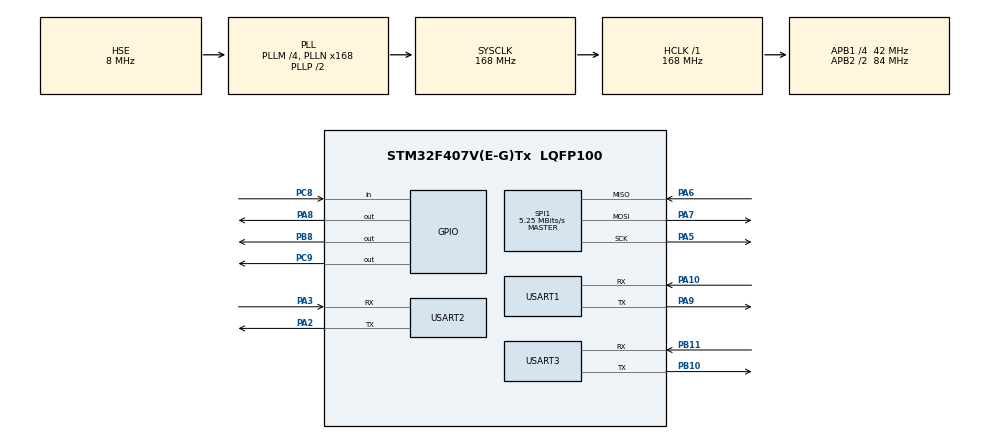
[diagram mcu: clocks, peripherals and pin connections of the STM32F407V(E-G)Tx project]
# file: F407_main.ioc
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Dma.Request0=SPI1_RX
Dma.Request1=SPI1_TX
Dma.SPI1_RX.0.Direction=DMA_PERIPH_TO_MEMORY
Dma.SPI1_RX.0.FIFOMode=DMA_FIFOMODE_DISABLE
Dma.SPI1_RX.0.Instance=DMA2_Stream2
Dma.SPI1_RX.0.MemDataAlignment=DMA_MDATAALIGN_BYTE
Dma.SPI1_RX.0.MemInc=DMA_MINC_ENABLE
Dma.SPI1_RX.0.Mode=DMA_CIRCULAR
Dma.SPI1_RX.0.PeriphDataAlignment=DMA_PDATAALIGN_BYTE
Dma.SPI1_RX.0.PeriphInc=DMA_PINC_DISABLE
Dma.SPI1_RX.0.Priority=DMA_PRIORITY_VERY_HIGH
Dma.SPI1_TX.1.Direction=DMA_MEMORY_TO_PERIPH
Dma.SPI1_TX.1.FIFOMode=DMA_FIFOMODE_DISABLE
Dma.SPI1_TX.1.Instance=DMA2_Stream3
Dma.SPI1_TX.1.MemDataAlignment=DMA_MDATAALIGN_BYTE
Dma.SPI1_TX.1.MemInc=DMA_MINC_ENABLE
Dma.SPI1_TX.1.Mode=DMA_NORMAL
Dma.SPI1_TX.1.PeriphDataAlignment=DMA_PDATAALIGN_BYTE
Dma.SPI1_TX.1.PeriphInc=DMA_PINC_DISABLE
Dma.SPI1_TX.1.Priority=DMA_PRIORITY_VERY_HIGH
Mcu.Family=STM32F4
Mcu.Name=STM32F407V(E-G)Tx
Mcu.Package=LQFP100
NVIC.DMA2_Stream2_IRQn=true\:0\:0\:false\:false\:true\:false\:true\:true
NVIC.DMA2_Stream3_IRQn=true\:0\:0\:false\:false\:true\:false\:true\:true
NVIC.PriorityGroup=NVIC_PRIORITYGROUP_4
NVIC.SPI1_IRQn=true\:0\:0\:false\:false\:true\:true\:true\:true
NVIC.USART1_IRQn=true\:0\:0\:true\:false\:true\:true\:true\:true
NVIC.USART2_IRQn=true\:1\:0\:true\:false\:true\:true\:true\:true
PA10.Mode=Asynchronous
PA10.Signal=USART1_RX
PA13.Mode=Serial_Wire
PA13.Signal=SYS_JTMS-SWDIO
PA14.Mode=Serial_Wire
PA14.Signal=SYS_JTCK-SWCLK
PA2.Mode=Asynchronous
PA2.Signal=USART2_TX
PA3.Mode=Asynchronous
PA3.Signal=USART2_RX
PA5.Mode=Full_Duplex_Master
PA5.Signal=SPI1_SCK
PA6.Mode=Full_Duplex_Master
PA6.Signal=SPI1_MISO
PA7.Mode=Full_Duplex_Master
PA7.Signal=SPI1_MOSI
PA8.Signal=GPIO_Output
PA9.Mode=Asynchronous
PA9.Signal=USART1_TX
PB10.Mode=Asynchronous
PB10.Signal=USART3_TX
PB11.Mode=Asynchronous
PB11.Signal=USART3_RX
PB8.Signal=GPIO_Output
PC8.Signal=GPIO_Input
PC9.Signal=GPIO_Output
PH0-OSC_IN.Mode=HSE-External-Oscillator
PH0-OSC_IN.Signal=RCC_OSC_IN
PH1-OSC_OUT.Mode=HSE-External-Oscillator
PH1-OSC_OUT.Signal=RCC_OSC_OUT
ProjectManager.HeapSize=0x200
ProjectManager.StackSize=0x400
ProjectManager.TargetToolchain=CMake
RCC.48MHZClocksFreq_Value=84000000
RCC.AHBFreq_Value=168000000
RCC.APB1CLKDivider=RCC_HCLK_DIV4
RCC.APB1Freq_Value=42000000
RCC.APB1TimFreq_Value=84000000
RCC.APB2CLKDivider=RCC_HCLK_DIV2
RCC.APB2Freq_Value=84000000
RCC.APB2TimFreq_Value=168000000
RCC.CortexFreq_Value=168000000
RCC.HCLKFreq_Value=168000000
RCC.HSE_VALUE=8000000
RCC.HSI_VALUE=16000000
RCC.LSE_VALUE=32768
RCC.PLLM=4
RCC.PLLN=168
RCC.PLLSourceVirtual=RCC_PLLSOURCE_HSE
RCC.SYSCLKFreq_VALUE=168000000
RCC.SYSCLKSource=RCC_SYSCLKSOURCE_PLLCLK
RCC.VCOOutputFreq_Value=336000000
SPI1.BaudRatePrescaler=SPI_BAUDRATEPRESCALER_16
SPI1.CalculateBaudRate=5.25 MBits/s
SPI1.Direction=SPI_DIRECTION_2LINES
SPI1.Mode=SPI_MODE_MASTER
SPI1.VirtualType=VM_MASTER
USART1.VirtualMode=VM_ASYNC
USART2.VirtualMode=VM_ASYNC
USART3.VirtualMode=VM_ASYNC
board=custom

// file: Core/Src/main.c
/* USER CODE BEGIN Header */
/**
  ******************************************************************************
  * @file           : main.c
  * @brief          : 绳驱巡检装置主程序 (STM32F407VET6)
  *
  * 外设分配:
  *   USART1 (PA9/PA10) - 电机多机通信 (ZDT X42S ×4)
  *   USART2 (PA2/PA3)  - 串口屏
  *   USART3 (PB10/PB11)- 预留 (调试)
  *   SPI1   (PA5/6/7)  - NRF24L01 无线通信
  *     PA8=CE, PC9=CSN, PC8=IRQ
  *   PC9  - NRF CSN (注意: 如需独立蜂鸣器, 需在 IOC 中新增 GPIO)
  *   PB8  - 蜂鸣器 (需在 IOC 中添加)
  ******************************************************************************
  */
/* USER CODE END Header */
#include "main.h"
#include "dma.h"
#include "spi.h"
#include "usart.h"
#include "gpio.h"

/* USER CODE BEGIN Includes */
#include "platform_config.h"
#include "motor.h"
#include "kinematics.h"
#include "task.h"
#include "screen.h"
#include "nrf_app.h"
#include "buzzer.h"
#include "motor_test.h"
#include "screen_test.h"
/* USER CODE END Includes */

/* USER CODE BEGIN PD */
/* 取消注释以开启对应测试模式，正常使用时全部保持注释 */
//#define MOTOR_TEST_ENABLE
//#define SCREEN_TEST_ENABLE
/* USER CODE END PD */

void SystemClock_Config(void);
/* USER CODE BEGIN PFP */
/* 串口屏回调 */
static void on_home(void)         { Task_EStop(); }
static void on_start(void)        { Task_StartHome(); }
static void on_area(void)         { Task_StartAreaPatrol(); }
static void on_auto(void)         { Task_StartAutoPatrol(); }
static void on_motor_enable(void) { Task_EnableMotors(); }
static void on_motor_disable(void){ Task_DisableMotors(); }
static void on_seq(uint8_t *s)    { Task_StartSeqPatrol(s); }
/* USER CODE END PFP */

int main(void)
{

  /* MCU Configuration--------------------------------------------------------*/

  /* Reset of all peripherals, Initializes the Flash interface and the Systick. */
  HAL_Init();

  /* Configure the system clock */
  SystemClock_Config();

  /* Initialize all configured peripherals */
  MX_GPIO_Init();
  MX_DMA_Init();
  MX_SPI1_Init();
  MX_USART1_UART_Init();
  MX_USART2_UART_Init();
  MX_USART3_UART_Init();
  /* USER CODE BEGIN 2 */

  /* --- 串口屏 --- */
  Screen_Init(SCREEN_UART);
  Screen_RegisterCallback(CMD_HOME,         on_home);
  Screen_RegisterCallback(CMD_START,        on_start);
  Screen_RegisterCallback(CMD_AREA_PATROL,  on_area);
  Screen_RegisterCallback(CMD_AUTO_PATROL,  on_auto);
  Screen_RegisterCallback(CMD_MOTOR_ENABLE, on_motor_enable);
  Screen_RegisterCallback(CMD_MOTOR_DISABLE,on_motor_disable);
  Screen_RegisterSequenceCallback(on_seq);

  /* --- 电机 --- */
  Motor_Init(MOTOR_UART);

#if BOOT_AUTO_ZERO_ENABLE
  /* --- 上电中心清零 ---
   * 只在建立中心零点时打开: 上电前必须手动把激光点放在中心圆。
   * 比赛/日常运行应保持 BOOT_AUTO_ZERO_ENABLE=0, 避免随机拉开后覆盖零点。
   */
  Motor_ZeroAllPositions();
  HAL_Delay(200);
#endif

  /* --- 运动学初始化 (零点已设置) --- */
  Kinematics_Init();

#ifdef MOTOR_TEST_ENABLE
  HAL_Delay(500);
  MotorTest_Run();
  while (1) {}
#endif

#ifdef SCREEN_TEST_ENABLE
  /* ======== 串口屏测试模式 ========
   * ScreenTest_Run 内部自行初始化 USART2，不用 Screen_Init */
  ScreenTest_Run();
  while (1) {}
#endif

  /* --- NRF --- */
  NrfApp_Init();

  /* --- 蜂鸣器 --- */
  Buzzer_Init();

  /* --- 任务调度 --- */
  Task_Init();

  uint32_t last_coord_ms = 0;

  /* USER CODE END 2 */

  /* Infinite loop */
  /* USER CODE BEGIN WHILE */
  while (1)
  {
    /* 任务状态机 */
    Task_Tick();

    /* 每 100ms 上报坐标到串口屏 */
    if (HAL_GetTick() - last_coord_ms >= COORD_UPDATE_INTERVAL_MS) {
        last_coord_ms = HAL_GetTick();
        if (NrfApp_HasValidPosition()) {
            Screen_SetCoord(NrfApp_GetPlatformXCm(), NrfApp_GetPlatformYCm());
        } else if (NrfApp_HasReceivedFrame()) {
            Screen_SetCoordLost();
        } else {
            Screen_SetCoord(Task_GetLaserX(), Task_GetLaserY());
        }
    }

    /* USER CODE END WHILE */

  }
}

void SystemClock_Config(void)
{
  RCC_OscInitTypeDef RCC_OscInitStruct = {0};
  RCC_ClkInitTypeDef RCC_ClkInitStruct = {0};

  /** Configure the main internal regulator output voltage
  */
  __HAL_RCC_PWR_CLK_ENABLE();
  __HAL_PWR_VOLTAGESCALING_CONFIG(PWR_REGULATOR_VOLTAGE_SCALE1);

  /** Initializes the RCC Oscillators according to the specified parameters
  * in the RCC_OscInitTypeDef structure.
  */
  RCC_OscInitStruct.OscillatorType = RCC_OSCILLATORTYPE_HSE;
  RCC_OscInitStruct.HSEState = RCC_HSE_ON;
  RCC_OscInitStruct.PLL.PLLState = RCC_PLL_ON;
  RCC_OscInitStruct.PLL.PLLSource = RCC_PLLSOURCE_HSE;
  RCC_OscInitStruct.PLL.PLLM = 4;
  RCC_OscInitStruct.PLL.PLLN = 168;
  RCC_OscInitStruct.PLL.PLLP = RCC_PLLP_DIV2;
  RCC_OscInitStruct.PLL.PLLQ = 4;
  if (HAL_RCC_OscConfig(&RCC_OscInitStruct) != HAL_OK)
  {
    Error_Handler();
  }

  /** Initializes the CPU, AHB and APB buses clocks
  */
  RCC_ClkInitStruct.ClockType = RCC_CLOCKTYPE_HCLK|RCC_CLOCKTYPE_SYSCLK
                              |RCC_CLOCKTYPE_PCLK1|RCC_CLOCKTYPE_PCLK2;
  RCC_ClkInitStruct.SYSCLKSource = RCC_SYSCLKSOURCE_PLLCLK;
  RCC_ClkInitStruct.AHBCLKDivider = RCC_SYSCLK_DIV1;
  RCC_ClkInitStruct.APB1CLKDivider = RCC_HCLK_DIV4;
  RCC_ClkInitStruct.APB2CLKDivider = RCC_HCLK_DIV2;

  if (HAL_RCC_ClockConfig(&RCC_ClkInitStruct, FLASH_LATENCY_5) != HAL_OK)
  {
    Error_Handler();
  }
}

void Error_Handler(void)
{
  __disable_irq();
  while (1)
  {
  }
}
